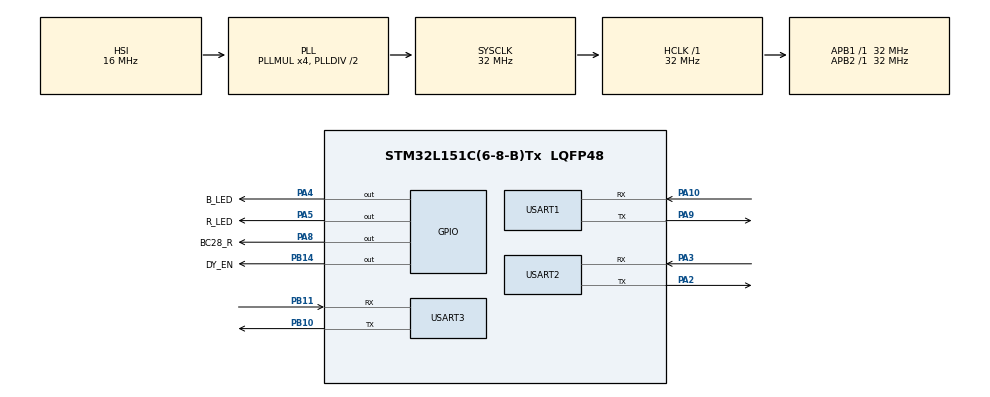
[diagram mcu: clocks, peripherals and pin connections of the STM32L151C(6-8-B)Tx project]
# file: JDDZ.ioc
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Dma.Request0=USART1_RX
Dma.Request1=USART2_RX
Dma.Request2=USART3_RX
Dma.USART1_RX.0.Direction=DMA_PERIPH_TO_MEMORY
Dma.USART1_RX.0.Instance=DMA1_Channel5
Dma.USART1_RX.0.MemDataAlignment=DMA_MDATAALIGN_BYTE
Dma.USART1_RX.0.MemInc=DMA_MINC_ENABLE
Dma.USART1_RX.0.Mode=DMA_NORMAL
Dma.USART1_RX.0.PeriphDataAlignment=DMA_PDATAALIGN_BYTE
Dma.USART1_RX.0.PeriphInc=DMA_PINC_DISABLE
Dma.USART1_RX.0.Priority=DMA_PRIORITY_MEDIUM
Dma.USART2_RX.1.Direction=DMA_PERIPH_TO_MEMORY
Dma.USART2_RX.1.Instance=DMA1_Channel6
Dma.USART2_RX.1.MemDataAlignment=DMA_MDATAALIGN_BYTE
Dma.USART2_RX.1.MemInc=DMA_MINC_ENABLE
Dma.USART2_RX.1.Mode=DMA_NORMAL
Dma.USART2_RX.1.PeriphDataAlignment=DMA_PDATAALIGN_BYTE
Dma.USART2_RX.1.PeriphInc=DMA_PINC_DISABLE
Dma.USART2_RX.1.Priority=DMA_PRIORITY_LOW
Dma.USART3_RX.2.Direction=DMA_PERIPH_TO_MEMORY
Dma.USART3_RX.2.Instance=DMA1_Channel3
Dma.USART3_RX.2.MemDataAlignment=DMA_MDATAALIGN_BYTE
Dma.USART3_RX.2.MemInc=DMA_MINC_ENABLE
Dma.USART3_RX.2.Mode=DMA_NORMAL
Dma.USART3_RX.2.PeriphDataAlignment=DMA_PDATAALIGN_BYTE
Dma.USART3_RX.2.PeriphInc=DMA_PINC_DISABLE
Dma.USART3_RX.2.Priority=DMA_PRIORITY_HIGH
Mcu.Family=STM32L1
Mcu.Name=STM32L151C(6-8-B)Tx
Mcu.Package=LQFP48
NVIC.DMA1_Channel3_IRQn=true\:0\:0\:false\:false\:true\:false
NVIC.DMA1_Channel5_IRQn=true\:0\:0\:false\:false\:true\:false
NVIC.DMA1_Channel6_IRQn=true\:0\:0\:false\:false\:true\:false
NVIC.PriorityGroup=NVIC_PRIORITYGROUP_4
NVIC.TIM6_IRQn=true\:3\:0\:true\:false\:true\:true
NVIC.USART1_IRQn=true\:2\:0\:true\:false\:true\:true
NVIC.USART2_IRQn=true\:3\:0\:true\:false\:true\:true
NVIC.USART3_IRQn=true\:1\:0\:true\:false\:true\:true
PA10.Mode=Asynchronous
PA10.Signal=USART1_RX
PA13.Mode=Serial_Wire
PA13.Signal=SYS_JTMS-SWDIO
PA14.Mode=Serial_Wire
PA14.Signal=SYS_JTCK-SWCLK
PA2.Mode=Asynchronous
PA2.Signal=USART2_TX
PA3.Mode=Asynchronous
PA3.Signal=USART2_RX
PA4.GPIO_Label=B_LED
PA4.Signal=GPIO_Output
PA5.GPIO_Label=R_LED
PA5.Signal=GPIO_Output
PA8.GPIO_Label=BC28_R
PA8.Signal=GPIO_Output
PA9.Mode=Asynchronous
PA9.Signal=USART1_TX
PB10.Mode=Asynchronous
PB10.Signal=USART3_TX
PB11.Mode=Asynchronous
PB11.Signal=USART3_RX
PB14.GPIO_Label=DY_EN
PB14.Signal=GPIO_Output
PC13-WKUP2.Mode=SYS_WakeUp1
PC13-WKUP2.Signal=SYS_WKUP2
PC14-OSC32_IN.Mode=LSE-External-Oscillator
PC14-OSC32_IN.Signal=RCC_OSC32_IN
PC15-OSC32_OUT.Mode=LSE-External-Oscillator
PC15-OSC32_OUT.Signal=RCC_OSC32_OUT
PH0-OSC_IN.Mode=HSE-External-Oscillator
PH0-OSC_IN.Signal=RCC_OSC_IN
PH1-OSC_OUT.Mode=HSE-External-Oscillator
PH1-OSC_OUT.Signal=RCC_OSC_OUT
ProjectManager.HeapSize=0x1000
ProjectManager.StackSize=0x800
ProjectManager.TargetToolchain=MDK-ARM V5
RCC.48MHZClocksFreq_Value=32000000
RCC.AHBFreq_Value=32000000
RCC.APB1Freq_Value=32000000
RCC.APB1TimFreq_Value=32000000
RCC.APB2Freq_Value=32000000
RCC.APB2TimFreq_Value=32000000
RCC.HCLKFreq_Value=32000000
RCC.HSE_VALUE=16000000
RCC.HSI_VALUE=16000000
RCC.MSI_VALUE=2097000
RCC.PLLMUL=RCC_PLL_MUL4
RCC.RTCClockSelection=RCC_RTCCLKSOURCE_LSE
RCC.SYSCLKFreq_VALUE=32000000
RCC.SYSCLKSource=RCC_SYSCLKSOURCE_PLLCLK
RCC.VCOOutputFreq_Value=64000000
RTC.WakeUpClock-WakeUp=RTC_WAKEUPCLOCK_CK_SPRE_16BITS
RTC.WakeUpCounter-WakeUp=10
TIM6.Period=1000-1
TIM6.Prescaler=3200-1
USART1.VirtualMode=VM_ASYNC
USART2.VirtualMode=VM_ASYNC
USART3.VirtualMode=VM_ASYNC
VP_RTC_VS_RTC_Activate.Mode=RTC_Enabled
VP_RTC_VS_RTC_Calendar.Mode=RTC_Calendar
VP_RTC_VS_RTC_WakeUp_intern.Mode=WakeUp
VP_TIM6_VS_ClockSourceINT.Mode=Enable_Timer
board=custom

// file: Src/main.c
/* USER CODE BEGIN Header */
/**
  ******************************************************************************
  * @file           : main.c
  * @brief          : Main program body
  ******************************************************************************
  ** This notice applies to any and all portions of this file
  * that are not between comment pairs USER CODE BEGIN and
  * USER CODE END. Other portions of this file, whether
  * inserted by the user or by software development tools
  * are owned by their respective copyright owners.
  *
  * COPYRIGHT(c) 2019 STMicroelectronics
  *
  * Redistribution and use in source and binary forms, with or without modification,
  * are permitted provided that the following conditions are met:
  *   1. Redistributions of source code must retain the above copyright notice,
  *      this list of conditions and the following disclaimer.
  *   2. Redistributions in binary form must reproduce the above copyright notice,
  *      this list of conditions and the following disclaimer in the documentation
  *      and/or other materials provided with the distribution.
  *   3. Neither the name of STMicroelectronics nor the names of its contributors
  *      may be used to endorse or promote products derived from this software
  *      without specific prior written permission.
  *
  * THIS SOFTWARE IS PROVIDED BY THE COPYRIGHT HOLDERS AND CONTRIBUTORS "AS IS"
  * AND ANY EXPRESS OR IMPLIED WARRANTIES, INCLUDING, BUT NOT LIMITED TO, THE
  * IMPLIED WARRANTIES OF MERCHANTABILITY AND FITNESS FOR A PARTICULAR PURPOSE ARE
  * DISCLAIMED. IN NO EVENT SHALL THE COPYRIGHT HOLDER OR CONTRIBUTORS BE LIABLE
  * FOR ANY DIRECT, INDIRECT, INCIDENTAL, SPECIAL, EXEMPLARY, OR CONSEQUENTIAL
  * DAMAGES (INCLUDING, BUT NOT LIMITED TO, PROCUREMENT OF SUBSTITUTE GOODS OR
  * SERVICES; LOSS OF USE, DATA, OR PROFITS; OR BUSINESS INTERRUPTION) HOWEVER
  * CAUSED AND ON ANY THEORY OF LIABILITY, WHETHER IN CONTRACT, STRICT LIABILITY,
  * OR TORT (INCLUDING NEGLIGENCE OR OTHERWISE) ARISING IN ANY WAY OUT OF THE USE
  * OF THIS SOFTWARE, EVEN IF ADVISED OF THE POSSIBILITY OF SUCH DAMAGE.
  *
  ******************************************************************************
  */
/* USER CODE END Header */

#include "main.h"
#include "dma.h"
#include "rtc.h"
#include "tim.h"
#include "usart.h"
#include "gpio.h"

/* USER CODE BEGIN Includes */

#include "string.h"
/* USER CODE END Includes */

void SystemClock_Config(void);

/* USER CODE BEGIN 0 */
uint8_t net_status = 0;
uint8_t standby_status = 0;
uint8_t tim_count = 0;
/* USER CODE END 0 */

int main(void)
{

  /* MCU Configuration--------------------------------------------------------*/

  /* Reset of all peripherals, Initializes the Flash interface and the Systick. */
  HAL_Init();

  /* Configure the system clock */
  SystemClock_Config();

  /* Initialize all configured peripherals */
  MX_GPIO_Init();
  MX_DMA_Init();
  MX_USART1_UART_Init();
  MX_USART3_UART_Init();
  MX_USART2_UART_Init();
  MX_TIM6_Init();
  MX_RTC_Init();
  /* USER CODE BEGIN 2 */
	debuge_printf("jddz V1.0\n");
	Bsp_IDLE_Enable();
	HAL_TIM_Base_Start_IT(&htim6);
	BSP_POWER(BSP_ON);
	if(1 == Task_Init())
	{
		net_status = 1;
		BSP_BLED(BSP_ON);
		Task_JDDZ();
		Task_Send();
		debuge_printf("Init S\n");
	}
	else
	{
		debuge_printf("Init fail\n");
	}
  HAL_GPIO_WritePin(R_LED_GPIO_Port,R_LED_Pin,GPIO_PIN_RESET);

	tim_count = 0;

	HAL_Delay(10);

//	BSP_RLED(BSP_ON);

  /* USER CODE END 2 */

  /* Infinite loop */
  while (1)
  {

    /* USER CODE BEGIN 3 */
//		get_jddz_value();

		if(net_status)
		{
			Task_Recive();

			if(tim_count > 10)
			{
				Task_Sleep();
			}

		}
		else
		{
			Task_Sleep();

		}

  }
  /* USER CODE END 3 */
}

void SystemClock_Config(void)
{
  RCC_OscInitTypeDef RCC_OscInitStruct = {0};
  RCC_ClkInitTypeDef RCC_ClkInitStruct = {0};
  RCC_PeriphCLKInitTypeDef PeriphClkInit = {0};

  /**Configure the main internal regulator output voltage
  */
  __HAL_PWR_VOLTAGESCALING_CONFIG(PWR_REGULATOR_VOLTAGE_SCALE1);
  /**Initializes the CPU, AHB and APB busses clocks
  */
  RCC_OscInitStruct.OscillatorType = RCC_OSCILLATORTYPE_HSI|RCC_OSCILLATORTYPE_LSE;
  RCC_OscInitStruct.LSEState = RCC_LSE_ON;
  RCC_OscInitStruct.HSIState = RCC_HSI_ON;
  RCC_OscInitStruct.HSICalibrationValue = RCC_HSICALIBRATION_DEFAULT;
  RCC_OscInitStruct.PLL.PLLState = RCC_PLL_ON;
  RCC_OscInitStruct.PLL.PLLSource = RCC_PLLSOURCE_HSI;
  RCC_OscInitStruct.PLL.PLLMUL = RCC_PLL_MUL4;
  RCC_OscInitStruct.PLL.PLLDIV = RCC_PLL_DIV2;
  if (HAL_RCC_OscConfig(&RCC_OscInitStruct) != HAL_OK)
  {
    Error_Handler();
  }
  /**Initializes the CPU, AHB and APB busses clocks
  */
  RCC_ClkInitStruct.ClockType = RCC_CLOCKTYPE_HCLK|RCC_CLOCKTYPE_SYSCLK
                              |RCC_CLOCKTYPE_PCLK1|RCC_CLOCKTYPE_PCLK2;
  RCC_ClkInitStruct.SYSCLKSource = RCC_SYSCLKSOURCE_PLLCLK;
  RCC_ClkInitStruct.AHBCLKDivider = RCC_SYSCLK_DIV1;
  RCC_ClkInitStruct.APB1CLKDivider = RCC_HCLK_DIV1;
  RCC_ClkInitStruct.APB2CLKDivider = RCC_HCLK_DIV1;

  if (HAL_RCC_ClockConfig(&RCC_ClkInitStruct, FLASH_LATENCY_1) != HAL_OK)
  {
    Error_Handler();
  }
  PeriphClkInit.PeriphClockSelection = RCC_PERIPHCLK_RTC;
  PeriphClkInit.RTCClockSelection = RCC_RTCCLKSOURCE_LSE;
  if (HAL_RCCEx_PeriphCLKConfig(&PeriphClkInit) != HAL_OK)
  {
    Error_Handler();
  }
}

/* USER CODE BEGIN 4 */
void HAL_TIM_PeriodElapsedCallback(TIM_HandleTypeDef *htim)
{
	BSP_BLED(BSP_TOGGLE);
	BSP_RLED(BSP_TOGGLE);
	tim_count++;

}
/* USER CODE END 4 */

void Error_Handler(void)
{
}

/************************ (C) COPYRIGHT STMicroelectronics *****END OF FILE****/
